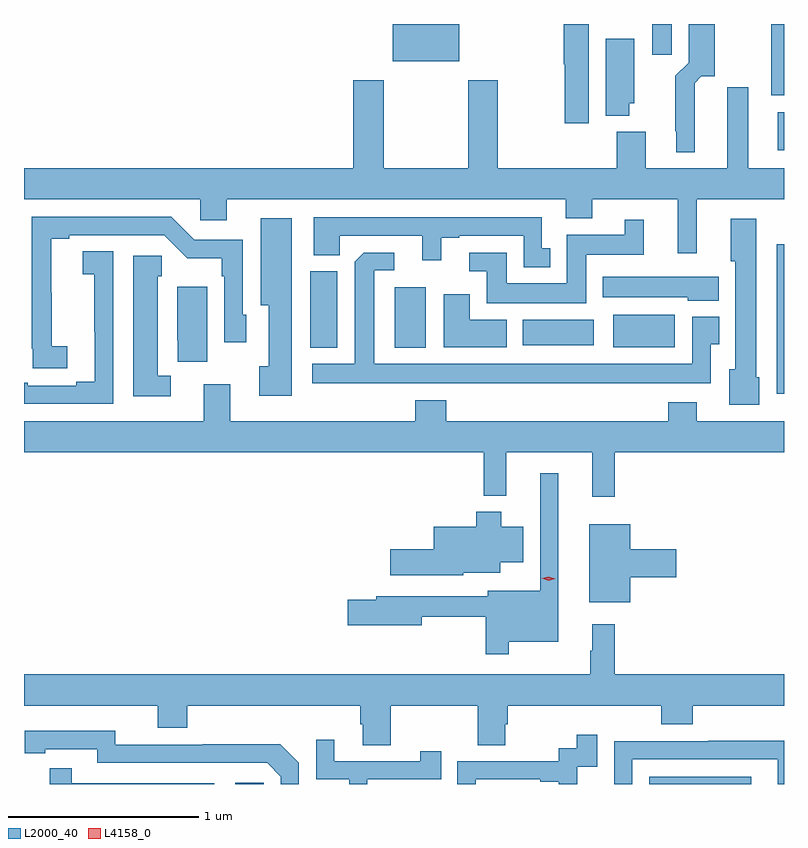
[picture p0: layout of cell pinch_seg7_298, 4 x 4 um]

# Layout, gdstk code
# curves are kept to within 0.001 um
import gdstk
lib = gdstk.Library(unit=1e-6, precision=1e-09)
def R(c, l, rs):  # rectangles x0, y0, x1, y1
    for r in rs: c.add(gdstk.rectangle(r[:2], r[2:], *l))
def P(c, l, *ps):  # polygons
    for p in ps: c.add(gdstk.Polygon(p, *l))
L2000_40 = (2000, 40)
L4158_0 = (4158, 0)

pinch_seg7_298 = lib.new_cell('pinch_seg7_298')
R(pinch_seg7_298, L2000_40, [(550.134,1054.815,550.284,1054.822), (552.315,1054.815,552.85,1054.854), (552.986,1056.87,553.023,1057.657), (550.529,1057.112,550.672,1057.513), (550.973,1057.112,551.137,1057.429), (552.125,1057.115,552.448,1057.285), (551.648,1057.124,552.022,1057.258), (552.989,1058.151,553.023,1058.35), (552.956,1058.441,553.023,1058.815), (550.964,1058.618,551.314,1058.815), (552.329,1058.652,552.433,1058.815)])
P(pinch_seg7_298, L2000_40, [(552.553,1058.504),(552.588,1058.54),(552.658,1058.54),(552.658,1058.815),(552.521,1058.815),(552.521,1058.612),(552.451,1058.542),(552.451,1058.251),(552.455,1058.251),(552.455,1058.141),(552.553,1058.141)],
  [(551.995,1058.815),(551.864,1058.815),(551.864,1058.604),(551.869,1058.604),(551.869,1058.292),(551.995,1058.292)],
  [(552.208,1058.397),(552.235,1058.397),(552.235,1058.738),(552.086,1058.738),(552.086,1058.333),(552.208,1058.333)],
  [(551.873,1057.793),(552.013,1057.793),(552.013,1057.892),(552.464,1057.892),(552.464,1057.608),(552.563,1057.608),(552.563,1057.892),(553.023,1057.892),(553.023,1058.056),(552.835,1058.056),(552.835,1058.482),(552.725,1058.482),(552.725,1058.056),(552.295,1058.056),(552.295,1058.248),(552.143,1058.248),(552.143,1058.056),(551.517,1058.056),(551.517,1058.518),(551.362,1058.518),(551.362,1058.056),(550.917,1058.056),(550.917,1058.518),(550.757,1058.518),(550.757,1058.056),(549.023,1058.056),(549.023,1057.892),(549.951,1057.892),(549.951,1057.782),(550.09,1057.782),(550.09,1057.892),(551.873,1057.892)],
  [(549.25,1057.118),(549.168,1057.118),(549.166,1057.684),(549.262,1057.684),(549.262,1057.704),(549.762,1057.704),(549.883,1057.583),(550.065,1057.583),(550.065,1057.487),(550.077,1057.487),(550.077,1057.14),(550.194,1057.14),(550.194,1057.284),(550.173,1057.284),(550.173,1057.68),(549.918,1057.68),(549.798,1057.8),(549.064,1057.8),(549.064,1057.105),(549.07,1057.105),(549.07,1057.003),(549.25,1057.003)],
  [(551.794,1057.635),(551.748,1057.635),(551.748,1057.797),(550.547,1057.797),(550.547,1057.598),(550.686,1057.598),(550.686,1057.701),(551.12,1057.701),(551.12,1057.572),(551.218,1057.572),(551.218,1057.689),(551.314,1057.689),(551.314,1057.701),(551.652,1057.701),(551.652,1057.535),(551.794,1057.535)],
  [(550.432,1057.792),(550.268,1057.792),(550.268,1057.334),(550.31,1057.334),(550.31,1057.014),(550.26,1057.014),(550.26,1056.858),(550.432,1056.858)],
  [(552.892,1056.957),(552.877,1056.957),(552.877,1057.789),(552.743,1057.789),(552.743,1057.566),(552.767,1057.566),(552.767,1056.999),(552.734,1056.999),(552.734,1056.812),(552.892,1056.812)],
  [(551.983,1057.601),(552.284,1057.601),(552.284,1057.786),(552.185,1057.786),(552.185,1057.705),(551.879,1057.705),(551.879,1057.45),(551.563,1057.45),(551.563,1057.611),(551.367,1057.611),(551.367,1057.515),(551.459,1057.515),(551.459,1057.346),(551.983,1057.346)],
  [(549.492,1057.619),(549.333,1057.619),(549.333,1057.499),(549.394,1057.499),(549.394,1057.195),(549.395,1057.195),(549.395,1056.932),(549.299,1056.932),(549.299,1056.912),(549.043,1056.912),(549.043,1056.926),(549.023,1056.926),(549.023,1056.816),(549.492,1056.816)],
  [(552.637,1057.129),(552.682,1057.129),(552.682,1057.273),(552.54,1057.273),(552.54,1057.027),(550.867,1057.027),(550.867,1057.518),(550.972,1057.518),(550.972,1057.611),(550.81,1057.611),(550.764,1057.565),(550.763,1057.027),(550.539,1057.027),(550.539,1056.923),(552.637,1056.923)],
  [(549.796,1056.965),(549.727,1056.965),(549.727,1057.488),(549.749,1057.488),(549.749,1057.594),(549.599,1057.594),(549.599,1056.857),(549.796,1056.857)],
  [(552.679,1057.486),(552.068,1057.486),(552.068,1057.376),(552.516,1057.376),(552.516,1057.358),(552.679,1057.358)],
  [(549.988,1057.432),(549.83,1057.432),(549.83,1057.15),(549.832,1057.15),(549.832,1057.038),(549.988,1057.038)],
  [(551.563,1057.258),(551.368,1057.258),(551.368,1057.393),(551.231,1057.393),(551.231,1057.115),(551.563,1057.115)],
  [(552.131,1056.56),(553.023,1056.56),(553.023,1056.724),(552.565,1056.724),(552.565,1056.823),(552.413,1056.823),(552.413,1056.724),(551.246,1056.724),(551.246,1056.835),(551.081,1056.835),(551.081,1056.724),(550.108,1056.724),(550.108,1056.919),(549.968,1056.919),(549.968,1056.724),(549.023,1056.724),(549.023,1056.56),(551.443,1056.56),(551.443,1056.332),(551.561,1056.332),(551.561,1056.56),(552.014,1056.56),(552.014,1056.327),(552.131,1056.327)],
  [(551.575,1055.564),(551.836,1055.564),(551.836,1056.451),(551.739,1056.451),(551.739,1055.833),(551.465,1055.833),(551.465,1055.802),(550.877,1055.802),(550.877,1055.786),(550.728,1055.786),(550.728,1055.651),(551.116,1055.651),(551.116,1055.694),(551.454,1055.694),(551.454,1055.499),(551.575,1055.499)],
  [(551.334,1055.927),(551.53,1055.927),(551.53,1055.981),(551.65,1055.981),(551.65,1056.169),(551.536,1056.169),(551.536,1056.247),(551.402,1056.247),(551.402,1056.169),(551.18,1056.169),(551.18,1056.05),(550.95,1056.05),(550.95,1055.915),(551.334,1055.915)],
  [(552.214,1055.903),(552.457,1055.903),(552.457,1056.05),(552.214,1056.05),(552.214,1056.181),(551.999,1056.181),(551.999,1055.771),(552.214,1055.771)],
  [(550.953,1055.228),(551.41,1055.228),(551.41,1055.02),(551.557,1055.02),(551.557,1055.13),(551.57,1055.13),(551.57,1055.228),(552.377,1055.228),(552.377,1055.129),(552.542,1055.129),(552.542,1055.228),(553.023,1055.228),(553.023,1055.392),(552.131,1055.392),(552.131,1055.656),(552.014,1055.656),(552.014,1055.516),(552.003,1055.516),(552.003,1055.392),(549.023,1055.392),(549.023,1055.228),(549.728,1055.228),(549.728,1055.111),(549.881,1055.111),(549.881,1055.228),(550.793,1055.228),(550.793,1055.13),(550.805,1055.13),(550.805,1055.02),(550.953,1055.02)],
  [(550.47,1054.926),(550.372,1055.024),(549.964,1055.024),(549.964,1055.022),(549.504,1055.022),(549.504,1055.095),(549.028,1055.094),(549.028,1054.978),(549.136,1054.978),(549.136,1054.998),(549.408,1054.998),(549.408,1054.926),(550.302,1054.926),(550.374,1054.854),(550.374,1054.815),(550.47,1054.815)],
  [(551.4,1054.839),(551.741,1054.839),(551.741,1054.827),(551.837,1054.827),(551.837,1054.815),(551.934,1054.815),(551.934,1054.905),(552.039,1054.905),(552.039,1055.074),(551.931,1055.074),(551.931,1055.004),(551.838,1055.004),(551.838,1054.935),(551.304,1054.935),(551.304,1054.815),(551.4,1054.815)],
  [(550.83,1054.839),(551.219,1054.839),(551.219,1054.987),(551.108,1054.987),(551.108,1054.935),(550.657,1054.935),(550.657,1055.047),(550.56,1055.047),(550.56,1054.839),(550.734,1054.839),(550.734,1054.815),(550.83,1054.815)],
  [(552.225,1054.944),(552.989,1054.944),(552.989,1054.815),(553.023,1054.815),(553.023,1055.042),(552.625,1055.042),(552.625,1055.04),(552.129,1055.04),(552.129,1054.815),(552.225,1054.815)],
  [(550.024,1054.818),(549.275,1054.818),(549.275,1054.897),(549.158,1054.897),(549.158,1054.815),(550.024,1054.815)])
P(pinch_seg7_298, L4158_0, [(551.784,1055.886),(551.749,1055.898),(551.749,1055.898),(551.749,1055.898),(551.785,1055.906),(551.82,1055.894),(551.82,1055.894),(551.82,1055.894)])

lib.write_gds('pinch_seg7_298.gds')
